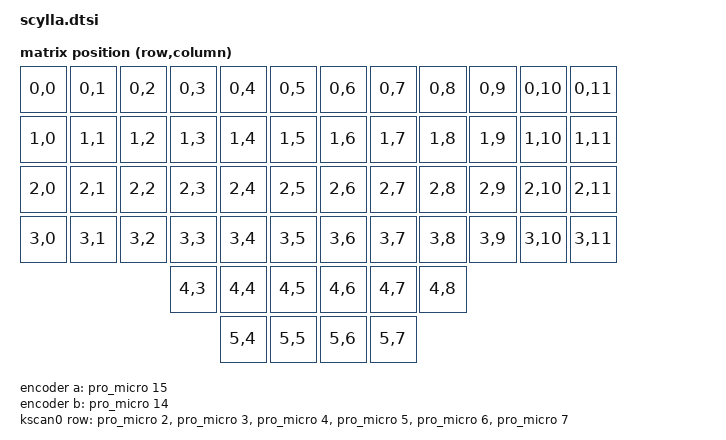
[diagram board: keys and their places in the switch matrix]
/*
 * Copyright (c) 2020 The ZMK Contributors
 * SPDX-License-Identifier: MIT
 *
 * Scylla MK2 — handwired, col2row, nice!nano
 *
 * Layout (58 teclas):
 *
 * ╭──────┬──────┬──────┬──────┬──────┬──────╮   ╭──────┬──────┬──────┬──────┬──────┬──────╮
 * │ R0C0 │ R0C1 │ R0C2 │ R0C3 │ R0C4 │ R0C5 │   │ R0C6 │ R0C7 │ R0C8 │ R0C9 │R0C10 │R0C11 │
 * ├──────┼──────┼──────┼──────┼──────┼──────┤   ├──────┼──────┼──────┼──────┼──────┼──────┤
 * │ R1C0 │ R1C1 │ R1C2 │ R1C3 │ R1C4 │ R1C5 │   │ R1C6 │ R1C7 │ R1C8 │ R1C9 │R1C10 │R1C11 │
 * ├──────┼──────┼──────┼──────┼──────┼──────┤   ├──────┼──────┼──────┼──────┼──────┼──────┤
 * │ R2C0 │ R2C1 │ R2C2 │ R2C3 │ R2C4 │ R2C5 │   │ R2C6 │ R2C7 │ R2C8 │ R2C9 │R2C10 │R2C11 │
 * ├──────┼──────┼──────┼──────┼──────┼──────┤   ├──────┼──────┼──────┼──────┼──────┼──────┤
 * │ R3C0 │ R3C1 │ R3C2 │ R3C3 │ R3C4 │ R3C5 │   │ R3C6 │ R3C7 │ R3C8 │ R3C9 │R3C10 │R3C11 │
 * ╰──────┴──────┴──────┼──────┼──────┼──────┤   ├──────┼──────┼──────┼──────┴──────┴──────╯
 *                      │ R4C3 │ R4C4 │ R4C5 │   │ R4C6 │ R4C7 │ R4C8 │
 *                      ╰──────┼──────┼──────╯   ╰──────┼──────╯──────╯
 *                             │ R5C4 │ R5C5 │   │ R5C6 │ R5C7 │
 *                             ╰──────┴──────╯   ╰──────┴──────╯
 *
 * Diodos: anodo → coluna, catodo → linha  ∴  col2row
 *
 * Linhas — entradas (PULL_DOWN), compartilhadas esq e dir:
 *   R0 → pro_micro 2  (P0.17)
 *   R1 → pro_micro 3  (P0.20)
 *   R2 → pro_micro 4  (P0.22)
 *   R3 → pro_micro 5  (P0.24)
 *   R4 → pro_micro 6  (P1.00)  thumb superior
 *   R5 → pro_micro 7  (P0.11)  thumb inferior
 *
 * Colunas — saídas (sem pull), definidas nos overlays:
 *   C0/C6  → pro_micro 8  (P1.04)
 *   C1/C7  → pro_micro 9  (P1.06)
 *   C2/C8  → pro_micro 21 (P0.31)
 *   C3/C9  → pro_micro 20 (P0.29)
 *   C4/C10 → pro_micro 19 (P0.02)
 *   C5/C11 → pro_micro 18 (P1.15)
 */

#include <dt-bindings/zmk/matrix_transform.h>

/ {
    chosen {
        zmk,kscan = &kscan0;
        zmk,matrix_transform = &default_transform;
    };

    default_transform: keymap_transform_0 {
        compatible = "zmk,matrix-transform";
        columns = <12>;
        rows = <6>;
        map = <
RC(0,0) RC(0,1) RC(0,2) RC(0,3) RC(0,4)  RC(0,5)   RC(0,6)  RC(0,7) RC(0,8) RC(0,9) RC(0,10) RC(0,11)
RC(1,0) RC(1,1) RC(1,2) RC(1,3) RC(1,4)  RC(1,5)   RC(1,6)  RC(1,7) RC(1,8) RC(1,9) RC(1,10) RC(1,11)
RC(2,0) RC(2,1) RC(2,2) RC(2,3) RC(2,4)  RC(2,5)   RC(2,6)  RC(2,7) RC(2,8) RC(2,9) RC(2,10) RC(2,11)
RC(3,0) RC(3,1) RC(3,2) RC(3,3) RC(3,4)  RC(3,5)   RC(3,6)  RC(3,7) RC(3,8) RC(3,9) RC(3,10) RC(3,11)
                         RC(4,3) RC(4,4)  RC(4,5)   RC(4,6)  RC(4,7) RC(4,8)
                                 RC(5,4)  RC(5,5)   RC(5,6)  RC(5,7)
        >;
    };

    encoder: encoder_0 {
        compatible = "alps,ec11";
        a-gpios = <&pro_micro 15 (GPIO_ACTIVE_HIGH | GPIO_PULL_UP)>;
        b-gpios = <&pro_micro 14 (GPIO_ACTIVE_HIGH | GPIO_PULL_UP)>;
        steps = <80>;
        status = "disabled";
    };

    sensors: sensors {
        compatible = "zmk,keymap-sensors";
        sensors = <&encoder>;
        triggers-per-rotation = <20>;
    };

    kscan0: kscan {
        compatible = "zmk,kscan-gpio-matrix";
        diode-direction = "col2row";
        wakeup-source;

        row-gpios
            = <&pro_micro 2  (GPIO_ACTIVE_HIGH | GPIO_PULL_DOWN)>  /* R0 */
            , <&pro_micro 3  (GPIO_ACTIVE_HIGH | GPIO_PULL_DOWN)>  /* R1 */
            , <&pro_micro 4  (GPIO_ACTIVE_HIGH | GPIO_PULL_DOWN)>  /* R2 */
            , <&pro_micro 5  (GPIO_ACTIVE_HIGH | GPIO_PULL_DOWN)>  /* R3 */
            , <&pro_micro 6  (GPIO_ACTIVE_HIGH | GPIO_PULL_DOWN)>  /* R4 thumb */
            , <&pro_micro 7  (GPIO_ACTIVE_HIGH | GPIO_PULL_DOWN)>  /* R5 thumb */
            ;
    };
};
